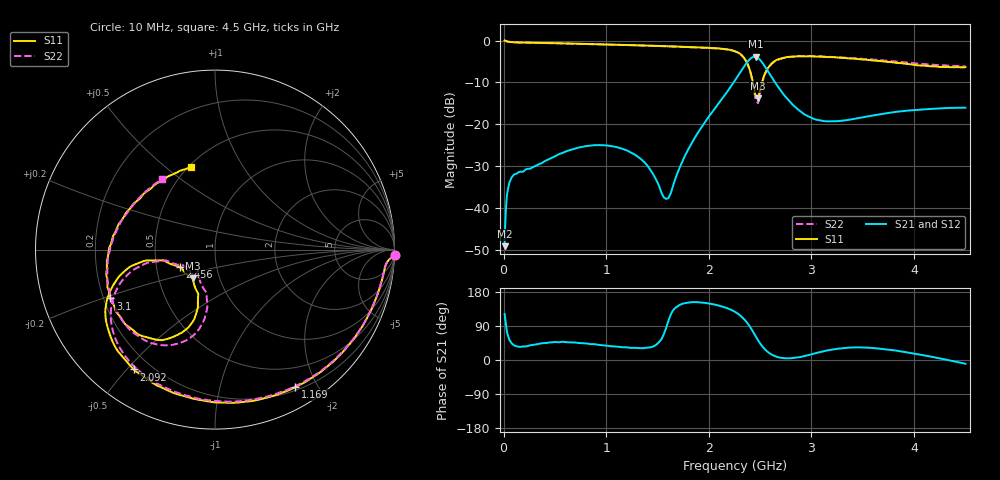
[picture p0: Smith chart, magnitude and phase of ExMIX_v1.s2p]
! Created Tue Apr 16 19:47:18 2013
# ghz S ma R 50
! 2 Port Network Data from SP1.SP block
! freq  magS11  angS11  magS21  angS21  magS12  angS12  magS22  angS22
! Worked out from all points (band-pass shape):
!   4491 points, 10 MHz to 4.5 GHz, reference 50 ohm
!   highest |S21| = -3.85 dB at 2.457 GHz (marker M1); lowest = -49.2 dB at 10 MHz (marker M2)
!   |S21| within 3 dB of the highest: 2.325 GHz to 2.563 GHz (238.2 MHz wide, 9.74 % of centre)
!   lowest |S11| = -13.8 dB at 2.479 GHz (marker M3), VSWR 1.51, Z = 37.1 - j12.5 ohm
!   |S11| at or under -10 dB: 2.429 GHz to 2.518 GHz (88.36 MHz wide, 3.57 % of centre)
!   |S22| runs from -15.0 to 0.0 dB; largest |S21 - S12| = 0.0014
!   S11 on the Smith chart (normalised r, x): 10 MHz: -7, -69; 1.169 GHz: 0.24, -1.72; 2.092 GHz: 0.14, -0.52; 2.456 GHz: 0.66, -0.13; 3.1 GHz: 0.23, -0.21; 4.5 GHz: 0.51, +0.61
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0.01  1.003 -1.6  0.003469 121.5  0.003505 122.1  1.003 -1.6
0.045  0.9681 -3.5  0.01724 62.6  0.01727 62.7  0.9682 -3.5
0.093  0.9541 -5.4  0.02431 40.5  0.02433 40.6  0.954 -5.3
0.759  0.9144 -36.8  0.05335 44.5  0.05335 44.9  0.9146 -35.3
1.169  0.8871 -59.7  0.05004 33.6  0.05007 33.9  0.886 -56.8
1.373  0.8721 -72.2  0.0349 31.8  0.03506 32.4  0.871 -68.6
1.507  0.8623 -80.7  0.01922 44.9  0.01925 45.1  0.8604 -76.8
1.608  0.8526 -87.6  0.01319 104.6  0.01331 104.6  0.853 -83.4
1.792  0.8363 -100.1  0.04794 151.2  0.04793 151.0  0.8371 -95.4
2.092  0.8064 -124.1  0.1747 144.0  0.1748 144.0  0.8025 -119.1
2.255  0.743 -143.2  0.3337 127.1  0.3336 127.1  0.7428 -138.5
2.373  0.5375 -165.4  0.5499 98.4  0.5494 98.4  0.5355 -162.1
2.456  0.2168 -154.2  0.6419 62.9  0.6419 63.0  0.1951 -153.0
2.457  0.2132 -153.6  0.642 62.5  0.642 62.5  0.1911 -152.4
2.479  0.2037 -127.8  0.6224 52.4  0.6225 52.5  0.1781 -120.7
2.551  0.4153 -107.0  0.48 26.8  0.4806 26.9  0.4042 -99.2
2.626  0.5492 -116.6  0.3438 12.4  0.3446 12.5  0.5449 -109.3
2.821  0.6409 -136.4  0.1691 5.3  0.1695 5.2  0.6426 -130.3
3.004  0.6485 -149.0  0.1182 15.2  0.1183 15.2  0.6497 -143.3
3.1  0.6434 -155.0  0.1098 21.8  0.1097 21.7  0.6455 -149.3
3.752  0.5565 165.7  0.1361 27.4  0.1358 27.5  0.5715 174.0
4.5  0.48 106.5  0.1573 -10.0  0.1571 -9.7  0.4928 127.0
